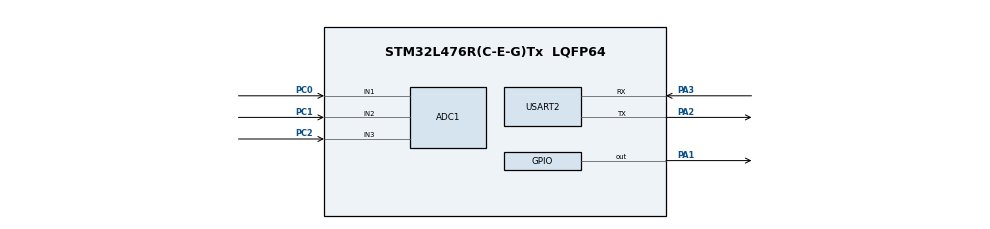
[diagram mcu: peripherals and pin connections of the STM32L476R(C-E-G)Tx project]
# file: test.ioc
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ADC1.Channel-0\#ChannelRegularConversion=ADC_CHANNEL_1
ADC1.Channel-1\#ChannelRegularConversion=ADC_CHANNEL_2
ADC1.Channel-2\#ChannelRegularConversion=ADC_CHANNEL_3
ADC1.ContinuousConvMode=DISABLE
ADC1.DMAContinuousRequests=ENABLE
ADC1.EOCSelection=ADC_EOC_SINGLE_CONV
ADC1.ExternalTrigConv=ADC_EXTERNALTRIG_T3_TRGO
ADC1.NbrOfConversion=3
ADC1.NbrOfConversionFlag=1
ADC1.OffsetNumber-0\#ChannelRegularConversion=ADC_OFFSET_NONE
ADC1.OffsetNumber-1\#ChannelRegularConversion=ADC_OFFSET_NONE
ADC1.OffsetNumber-2\#ChannelRegularConversion=ADC_OFFSET_NONE
ADC1.Rank-0\#ChannelRegularConversion=1
ADC1.Rank-1\#ChannelRegularConversion=2
ADC1.Rank-2\#ChannelRegularConversion=3
ADC1.SamplingTime-0\#ChannelRegularConversion=ADC_SAMPLETIME_2CYCLES_5
ADC1.SamplingTime-1\#ChannelRegularConversion=ADC_SAMPLETIME_2CYCLES_5
ADC1.SamplingTime-2\#ChannelRegularConversion=ADC_SAMPLETIME_2CYCLES_5
ADC1.master=1
Dma.ADC1.0.Direction=DMA_PERIPH_TO_MEMORY
Dma.ADC1.0.Instance=DMA1_Channel1
Dma.ADC1.0.MemDataAlignment=DMA_MDATAALIGN_WORD
Dma.ADC1.0.MemInc=DMA_MINC_ENABLE
Dma.ADC1.0.Mode=DMA_CIRCULAR
Dma.ADC1.0.PeriphDataAlignment=DMA_PDATAALIGN_WORD
Dma.ADC1.0.PeriphInc=DMA_PINC_DISABLE
Dma.ADC1.0.Priority=DMA_PRIORITY_LOW
Dma.Request0=ADC1
Mcu.Family=STM32L4
Mcu.Name=STM32L476R(C-E-G)Tx
Mcu.Package=LQFP64
NVIC.DMA1_Channel1_IRQn=true\:0\:0\:false\:false\:true\:false\:true\:true
NVIC.PriorityGroup=NVIC_PRIORITYGROUP_4
NVIC.USART2_IRQn=true\:0\:0\:false\:false\:true\:true\:true\:true
PA1.Signal=GPIO_Output
PA2.Mode=Asynchronous
PA2.Signal=USART2_TX
PA3.Mode=Asynchronous
PA3.Signal=USART2_RX
PC0.Signal=ADCx_IN1
PC1.Signal=ADCx_IN2
PC2.Signal=ADCx_IN3
ProjectManager.HeapSize=0x200
ProjectManager.StackSize=0x400
ProjectManager.TargetToolchain=STM32CubeIDE
RCC.ADCFreq_Value=32000000
RCC.HSE_VALUE=8000000
RCC.HSI_VALUE=16000000
RCC.LSE_VALUE=32768
RCC.MSI_VALUE=4000000
RCC.PLLSAI1N=16
RCC.USBFreq_Value=32000000
RCC.VCOOutputFreq_Value=32000000
SH.ADCx_IN1.0=ADC1_IN1,IN1-Single-Ended
SH.ADCx_IN2.0=ADC1_IN2,IN2-Single-Ended
SH.ADCx_IN3.0=ADC1_IN3,IN3-Single-Ended
TIM3.Period=999
TIM3.Prescaler=3
TIM3.TIM_MasterOutputTrigger=TIM_TRGO_UPDATE
USART2.VirtualMode-Asynchronous=VM_ASYNC
VP_TIM3_VS_ClockSourceINT.Mode=Internal
board=custom

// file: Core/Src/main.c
/* USER CODE BEGIN Header */
/**
  ******************************************************************************
  * @file           : main.c
  * @brief          : Main program body
  ******************************************************************************
  * @attention
  *
  * Copyright (c) 2025 STMicroelectronics.
  * All rights reserved.
  *
  * This software is licensed under terms that can be found in the LICENSE file
  * in the root directory of this software component.
  * If no LICENSE file comes with this software, it is provided AS-IS.
  *
  ******************************************************************************
  */
/* USER CODE END Header */
#include "main.h"

/* USER CODE BEGIN Includes */
#include <string.h>
#include <stdio.h>

/* USER CODE END Includes */

/* USER CODE BEGIN PD */

uint32_t ADC_VAL[3];

/* USER CODE END PD */

ADC_HandleTypeDef hadc1;
DMA_HandleTypeDef hdma_adc1;

TIM_HandleTypeDef htim3;

UART_HandleTypeDef huart2;

void SystemClock_Config(void);
static void MX_GPIO_Init(void);
static void MX_DMA_Init(void);
static void MX_ADC1_Init(void);
static void MX_TIM3_Init(void);
static void MX_USART2_UART_Init(void);

/* USER CODE BEGIN 0 */
uint8_t UART2_rxBuffer;
/* USER CODE END 0 */

int main(void)
{

  /* MCU Configuration--------------------------------------------------------*/

  /* Reset of all peripherals, Initializes the Flash interface and the Systick. */
  HAL_Init();

  /* Configure the system clock */
  SystemClock_Config();

  /* Initialize all configured peripherals */
  MX_GPIO_Init();
  MX_DMA_Init();
  MX_ADC1_Init();
  MX_TIM3_Init();
  MX_USART2_UART_Init();
  /* USER CODE BEGIN 2 */

  HAL_UART_Receive_IT (&huart2, &UART2_rxBuffer, 1);
  //HAL_TIM_Base_Start(&htim3);
  //HAL_ADC_Start_DMA(&hadc1,ADC_VAL, 3);

  /* USER CODE END 2 */

  /* Infinite loop */
  while (1)
  {

  }
}

void SystemClock_Config(void)
{
  RCC_OscInitTypeDef RCC_OscInitStruct = {0};
  RCC_ClkInitTypeDef RCC_ClkInitStruct = {0};

  /** Configure the main internal regulator output voltage
  */
  if (HAL_PWREx_ControlVoltageScaling(PWR_REGULATOR_VOLTAGE_SCALE1) != HAL_OK)
  {
    Error_Handler();
  }

  /** Initializes the RCC Oscillators according to the specified parameters
  * in the RCC_OscInitTypeDef structure.
  */
  RCC_OscInitStruct.OscillatorType = RCC_OSCILLATORTYPE_MSI;
  RCC_OscInitStruct.MSIState = RCC_MSI_ON;
  RCC_OscInitStruct.MSICalibrationValue = 0;
  RCC_OscInitStruct.MSIClockRange = RCC_MSIRANGE_6;
  RCC_OscInitStruct.PLL.PLLState = RCC_PLL_NONE;
  if (HAL_RCC_OscConfig(&RCC_OscInitStruct) != HAL_OK)
  {
    Error_Handler();
  }

  /** Initializes the CPU, AHB and APB buses clocks
  */
  RCC_ClkInitStruct.ClockType = RCC_CLOCKTYPE_HCLK|RCC_CLOCKTYPE_SYSCLK
                              |RCC_CLOCKTYPE_PCLK1|RCC_CLOCKTYPE_PCLK2;
  RCC_ClkInitStruct.SYSCLKSource = RCC_SYSCLKSOURCE_MSI;
  RCC_ClkInitStruct.AHBCLKDivider = RCC_SYSCLK_DIV1;
  RCC_ClkInitStruct.APB1CLKDivider = RCC_HCLK_DIV1;
  RCC_ClkInitStruct.APB2CLKDivider = RCC_HCLK_DIV1;

  if (HAL_RCC_ClockConfig(&RCC_ClkInitStruct, FLASH_LATENCY_0) != HAL_OK)
  {
    Error_Handler();
  }
}

static void MX_ADC1_Init(void)
{

  ADC_MultiModeTypeDef multimode = {0};
  ADC_ChannelConfTypeDef sConfig = {0};

  /** Common config
  */
  hadc1.Instance = ADC1;
  hadc1.Init.ClockPrescaler = ADC_CLOCK_ASYNC_DIV1;
  hadc1.Init.Resolution = ADC_RESOLUTION_12B;
  hadc1.Init.DataAlign = ADC_DATAALIGN_RIGHT;
  hadc1.Init.ScanConvMode = ADC_SCAN_ENABLE;
  hadc1.Init.EOCSelection = ADC_EOC_SINGLE_CONV;
  hadc1.Init.LowPowerAutoWait = DISABLE;
  hadc1.Init.ContinuousConvMode = DISABLE;
  hadc1.Init.NbrOfConversion = 3;
  hadc1.Init.DiscontinuousConvMode = DISABLE;
  hadc1.Init.ExternalTrigConv = ADC_EXTERNALTRIG_T3_TRGO;
  hadc1.Init.ExternalTrigConvEdge = ADC_EXTERNALTRIGCONVEDGE_RISING;
  hadc1.Init.DMAContinuousRequests = ENABLE;
  hadc1.Init.Overrun = ADC_OVR_DATA_PRESERVED;
  hadc1.Init.OversamplingMode = DISABLE;
  if (HAL_ADC_Init(&hadc1) != HAL_OK)
  {
    Error_Handler();
  }

  /** Configure the ADC multi-mode
  */
  multimode.Mode = ADC_MODE_INDEPENDENT;
  if (HAL_ADCEx_MultiModeConfigChannel(&hadc1, &multimode) != HAL_OK)
  {
    Error_Handler();
  }

  /** Configure Regular Channel
  */
  sConfig.Channel = ADC_CHANNEL_1;
  sConfig.Rank = ADC_REGULAR_RANK_1;
  sConfig.SamplingTime = ADC_SAMPLETIME_2CYCLES_5;
  sConfig.SingleDiff = ADC_SINGLE_ENDED;
  sConfig.OffsetNumber = ADC_OFFSET_NONE;
  sConfig.Offset = 0;
  if (HAL_ADC_ConfigChannel(&hadc1, &sConfig) != HAL_OK)
  {
    Error_Handler();
  }

  /** Configure Regular Channel
  */
  sConfig.Channel = ADC_CHANNEL_2;
  sConfig.Rank = ADC_REGULAR_RANK_2;
  if (HAL_ADC_ConfigChannel(&hadc1, &sConfig) != HAL_OK)
  {
    Error_Handler();
  }

  /** Configure Regular Channel
  */
  sConfig.Channel = ADC_CHANNEL_3;
  sConfig.Rank = ADC_REGULAR_RANK_3;
  if (HAL_ADC_ConfigChannel(&hadc1, &sConfig) != HAL_OK)
  {
    Error_Handler();
  }

}

static void MX_TIM3_Init(void)
{

  TIM_ClockConfigTypeDef sClockSourceConfig = {0};
  TIM_MasterConfigTypeDef sMasterConfig = {0};

  htim3.Instance = TIM3;
  htim3.Init.Prescaler = 3;
  htim3.Init.CounterMode = TIM_COUNTERMODE_UP;
  htim3.Init.Period = 999;
  htim3.Init.ClockDivision = TIM_CLOCKDIVISION_DIV1;
  htim3.Init.AutoReloadPreload = TIM_AUTORELOAD_PRELOAD_DISABLE;
  if (HAL_TIM_Base_Init(&htim3) != HAL_OK)
  {
    Error_Handler();
  }
  sClockSourceConfig.ClockSource = TIM_CLOCKSOURCE_INTERNAL;
  if (HAL_TIM_ConfigClockSource(&htim3, &sClockSourceConfig) != HAL_OK)
  {
    Error_Handler();
  }
  sMasterConfig.MasterOutputTrigger = TIM_TRGO_UPDATE;
  sMasterConfig.MasterSlaveMode = TIM_MASTERSLAVEMODE_DISABLE;
  if (HAL_TIMEx_MasterConfigSynchronization(&htim3, &sMasterConfig) != HAL_OK)
  {
    Error_Handler();
  }

}

static void MX_USART2_UART_Init(void)
{

  huart2.Instance = USART2;
  huart2.Init.BaudRate = 115200;
  huart2.Init.WordLength = UART_WORDLENGTH_8B;
  huart2.Init.StopBits = UART_STOPBITS_1;
  huart2.Init.Parity = UART_PARITY_NONE;
  huart2.Init.Mode = UART_MODE_TX_RX;
  huart2.Init.HwFlowCtl = UART_HWCONTROL_NONE;
  huart2.Init.OverSampling = UART_OVERSAMPLING_16;
  huart2.Init.OneBitSampling = UART_ONE_BIT_SAMPLE_DISABLE;
  huart2.AdvancedInit.AdvFeatureInit = UART_ADVFEATURE_NO_INIT;
  if (HAL_UART_Init(&huart2) != HAL_OK)
  {
    Error_Handler();
  }

}

static void MX_DMA_Init(void)
{

  /* DMA controller clock enable */
  __HAL_RCC_DMA1_CLK_ENABLE();

  /* DMA interrupt init */
  /* DMA1_Channel1_IRQn interrupt configuration */
  HAL_NVIC_SetPriority(DMA1_Channel1_IRQn, 0, 0);
  HAL_NVIC_EnableIRQ(DMA1_Channel1_IRQn);

}

static void MX_GPIO_Init(void)
{
  GPIO_InitTypeDef GPIO_InitStruct = {0};

  /* GPIO Ports Clock Enable */
  __HAL_RCC_GPIOC_CLK_ENABLE();
  __HAL_RCC_GPIOA_CLK_ENABLE();

  /*Configure GPIO pin Output Level */
  HAL_GPIO_WritePin(GPIOA, GPIO_PIN_1, GPIO_PIN_RESET);

  /*Configure GPIO pin : PA1 */
  GPIO_InitStruct.Pin = GPIO_PIN_1;
  GPIO_InitStruct.Mode = GPIO_MODE_OUTPUT_PP;
  GPIO_InitStruct.Pull = GPIO_NOPULL;
  GPIO_InitStruct.Speed = GPIO_SPEED_FREQ_LOW;
  HAL_GPIO_Init(GPIOA, &GPIO_InitStruct);

}

/* USER CODE BEGIN 4 */

void HAL_UART_RxCpltCallback(UART_HandleTypeDef *huart)
{

    char message[] = "Character received: ";
    HAL_UART_Transmit(&huart2, (uint8_t *)message, strlen(message), 100);  // Send message
    HAL_UART_Transmit(&huart2, &UART2_rxBuffer, 1, 100);  // Send received character
    HAL_UART_Transmit(&huart2, (uint8_t *)"\r\n", 2, 100);  // Newline for readability
    //Restart reception for the next character

    if (UART2_rxBuffer == 'a'){
    		HAL_TIM_Base_Start(&htim3);
    		HAL_ADC_Start_DMA(&hadc1,ADC_VAL, 3);

    }
	else if (UART2_rxBuffer == 's'){
		HAL_TIM_Base_Stop(&htim3);
		HAL_ADC_Stop_DMA(&hadc1);
	}

    HAL_UART_Receive_IT(&huart2, &UART2_rxBuffer, 1);

}

HAL_ADC_ConvCpltCallback(ADC_HandleTypeDef *hadc)
{

	HAL_GPIO_TogglePin(GPIOA, GPIO_PIN_1);
	static char uart_buffer[40];
	snprintf(uart_buffer, sizeof(uart_buffer), "%lu, %lu, %lu\r\n", ADC_VAL[0], ADC_VAL[1], ADC_VAL[2]);
	HAL_UART_Transmit(&huart2, (uint8_t*)uart_buffer, strlen(uart_buffer), HAL_MAX_DELAY);
}

/* USER CODE END 4 */

void Error_Handler(void)
{
  __disable_irq();
  while (1)
  {
  }
}
